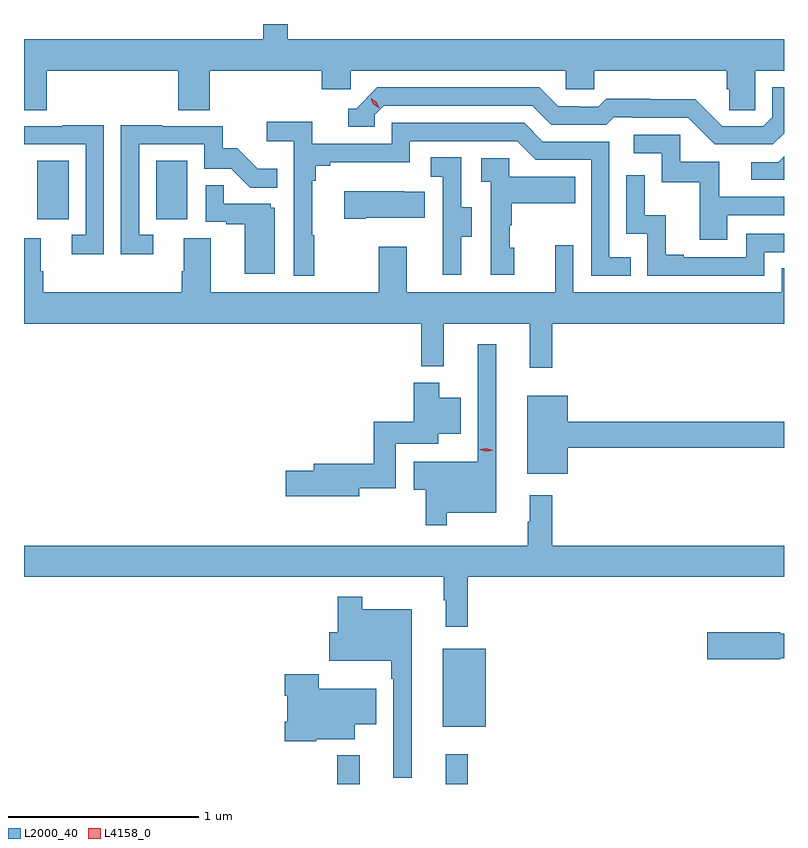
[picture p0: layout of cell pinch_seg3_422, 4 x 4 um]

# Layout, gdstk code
import gdstk
lib = gdstk.Library(unit=1e-6, precision=1e-09)
def R(c, l, rs):  # rectangles x0, y0, x1, y1
    for r in rs: c.add(gdstk.rectangle(r[:2], r[2:], *l))
def P(c, l, *ps):  # polygons
    for p in ps: c.add(gdstk.Polygon(p, *l))
L2000_40 = (2000, 40)
L4158_0 = (4158, 0)

pinch_seg3_422 = lib.new_cell('pinch_seg3_422')
R(pinch_seg3_422, L2000_40, [(938.167,686.505,938.285,686.656), (938.738,686.505,938.855,686.662), (938.723,686.807,938.95,687.217), (936.59,689.478,936.754,689.785), (937.214,689.478,937.378,689.785)])
P(pinch_seg3_422, L2000_40, [(936.638,690.26),(937.331,690.26),(937.331,690.052),(937.496,690.052),(937.496,690.26),(938.087,690.26),(938.087,690.162),(938.238,690.162),(938.238,690.26),(939.369,690.26),(939.369,690.162),(939.519,690.162),(939.519,690.26),(940.217,690.26),(940.217,690.162),(940.231,690.162),(940.231,690.052),(940.368,690.052),(940.368,690.26),(940.519,690.26),(940.519,690.424),(937.906,690.424),(937.906,690.505),(937.777,690.505),(937.777,690.424),(936.519,690.424),(936.519,690.052),(936.638,690.052)],
  [(940.519,689.929),(940.519,690.171),(940.458,690.171),(940.458,690.015),(940.41,689.967),(940.194,689.967),(940.052,690.109),(939.816,690.109),(939.816,690.112),(939.583,690.112),(939.541,690.069),(939.438,690.069),(939.438,690.072),(939.331,690.072),(939.232,690.171),(938.379,690.171),(938.268,690.06),(938.225,690.06),(938.225,689.964),(938.364,689.964),(938.364,690.027),(938.412,690.075),(939.195,690.075),(939.294,689.976),(939.583,689.976),(939.622,690.015),(939.721,690.015),(939.721,690.012),(940.014,690.012),(940.155,689.871),(940.461,689.871)],
  [(938.047,689.393),(938.035,689.393),(938.035,689.681),(938.054,689.681),(938.054,689.758),(938.131,689.758),(938.131,689.777),(938.55,689.777),(938.55,689.889),(939.114,689.889),(939.213,689.79),(939.504,689.79),(939.504,689.181),(939.713,689.181),(939.713,689.277),(939.6,689.277),(939.6,689.886),(939.25,689.886),(939.151,689.985),(938.454,689.985),(938.454,689.874),(938.036,689.874),(938.036,689.99),(937.797,689.99),(937.797,689.888),(937.938,689.888),(937.938,689.181),(938.047,689.181)],
  [(936.939,689.972),(936.721,689.972),(936.721,689.967),(936.519,689.967),(936.519,689.871),(936.843,689.871),(936.843,689.397),(936.771,689.397),(936.771,689.292),(936.939,689.292)],
  [(937.198,689.397),(937.125,689.397),(937.125,689.871),(937.467,689.871),(937.467,689.742),(937.611,689.742),(937.709,689.644),(937.853,689.644),(937.853,689.743),(937.749,689.743),(937.642,689.85),(937.566,689.85),(937.566,689.967),(937.247,689.967),(937.247,689.972),(937.029,689.972),(937.029,689.292),(937.198,689.292)],
  [(940.219,689.499),(940.519,689.499),(940.519,689.595),(940.177,689.595),(940.177,689.781),(939.972,689.781),(939.972,689.922),(939.729,689.922),(939.729,689.826),(939.876,689.826),(939.876,689.673),(940.075,689.673),(940.075,689.37),(940.219,689.37)],
  [(940.519,689.809),(940.488,689.778),(940.347,689.778),(940.347,689.685),(940.519,689.685)],
  [(938.821,689.386),(938.875,689.386),(938.875,689.541),(938.82,689.541),(938.82,689.804),(938.661,689.804),(938.661,689.701),(938.724,689.701),(938.724,689.397),(938.723,689.397),(938.723,689.184),(938.821,689.184)],
  [(939.1,689.328),(939.075,689.328),(939.075,689.447),(939.085,689.447),(939.085,689.561),(939.419,689.561),(939.419,689.701),(939.072,689.701),(939.072,689.799),(938.925,689.799),(938.925,689.675),(938.976,689.675),(938.976,689.184),(939.1,689.184)],
  [(940.416,689.304),(940.519,689.304),(940.519,689.4),(940.32,689.4),(940.32,689.277),(939.991,689.277),(939.991,689.29),(939.896,689.29),(939.896,689.498),(939.786,689.498),(939.786,689.71),(939.69,689.71),(939.69,689.4),(939.798,689.4),(939.798,689.181),(940.416,689.181)],
  [(937.84,689.538),(937.818,689.538),(937.818,689.559),(937.571,689.559),(937.571,689.657),(937.476,689.657),(937.476,689.463),(937.583,689.463),(937.583,689.451),(937.682,689.451),(937.682,689.19),(937.84,689.19)],
  [(938.317,689.486),(938.627,689.486),(938.627,689.623),(938.519,689.623),(938.519,689.626),(938.205,689.626),(938.205,689.479),(938.317,689.479)],
  [(939.299,688.928),(940.519,688.928),(940.519,689.219),(940.506,689.219),(940.506,689.092),(939.411,689.092),(939.411,689.341),(939.314,689.341),(939.314,689.092),(938.533,689.092),(938.533,689.332),(938.386,689.332),(938.386,689.092),(937.501,689.092),(937.501,689.378),(937.361,689.378),(937.361,689.204),(937.349,689.204),(937.349,689.092),(936.62,689.092),(936.62,689.204),(936.607,689.204),(936.607,689.378),(936.519,689.378),(936.519,688.928),(938.611,688.928),(938.611,688.703),(938.729,688.703),(938.729,688.928),(939.182,688.928),(939.182,688.695),(939.299,688.695)],
  [(938.743,687.932),(939.004,687.932),(939.004,688.819),(938.907,688.819),(938.907,688.201),(938.57,688.201),(938.57,688.054),(938.633,688.054),(938.633,687.867),(938.743,687.867)],
  [(938.284,688.062),(938.475,688.062),(938.475,688.296),(938.698,688.296),(938.698,688.349),(938.818,688.349),(938.818,688.537),(938.704,688.537),(938.704,688.618),(938.57,688.618),(938.57,688.412),(938.359,688.412),(938.359,688.19),(938.045,688.19),(938.045,688.154),(937.896,688.154),(937.896,688.019),(938.284,688.019)],
  [(939.382,688.276),(940.519,688.276),(940.519,688.412),(939.382,688.412),(939.382,688.549),(939.167,688.549),(939.167,688.139),(939.382,688.139)],
  [(938.855,687.596),(940.519,687.596),(940.519,687.76),(939.299,687.76),(939.299,688.024),(939.182,688.024),(939.182,687.884),(939.171,687.884),(939.171,687.76),(936.519,687.76),(936.519,687.596),(938.727,687.596),(938.727,687.473),(938.738,687.473),(938.738,687.333),(938.855,687.333)],
  [(938.56,687.424),(938.299,687.424),(938.299,687.49),(938.17,687.49),(938.17,687.303),(938.126,687.303),(938.126,687.155),(938.451,687.155),(938.451,687.059),(938.463,687.059),(938.463,686.538),(938.56,686.538)],
  [(940.5,687.166),(940.519,687.166),(940.519,687.295),(940.5,687.295),(940.5,687.303),(940.116,687.303),(940.116,687.161),(940.5,687.161)],
  [(938.058,686.741),(938.26,686.741),(938.26,686.819),(938.374,686.819),(938.374,687.007),(938.07,687.007),(938.07,687.082),(937.892,687.082),(937.892,686.969),(937.904,686.969),(937.904,686.833),(937.892,686.833),(937.892,686.729),(938.058,686.729)])
P(pinch_seg3_422, L4158_0, [(938.389,690.062),(938.358,690.082),(938.343,690.115),(938.343,690.115),(938.343,690.115),(938.373,690.095),(938.389,690.062),(938.389,690.062)],
  [(938.952,688.253),(938.918,688.265),(938.917,688.265),(938.918,688.266),(938.954,688.273),(938.988,688.261),(938.988,688.261),(938.988,688.261)])

lib.write_gds('pinch_seg3_422.gds')
